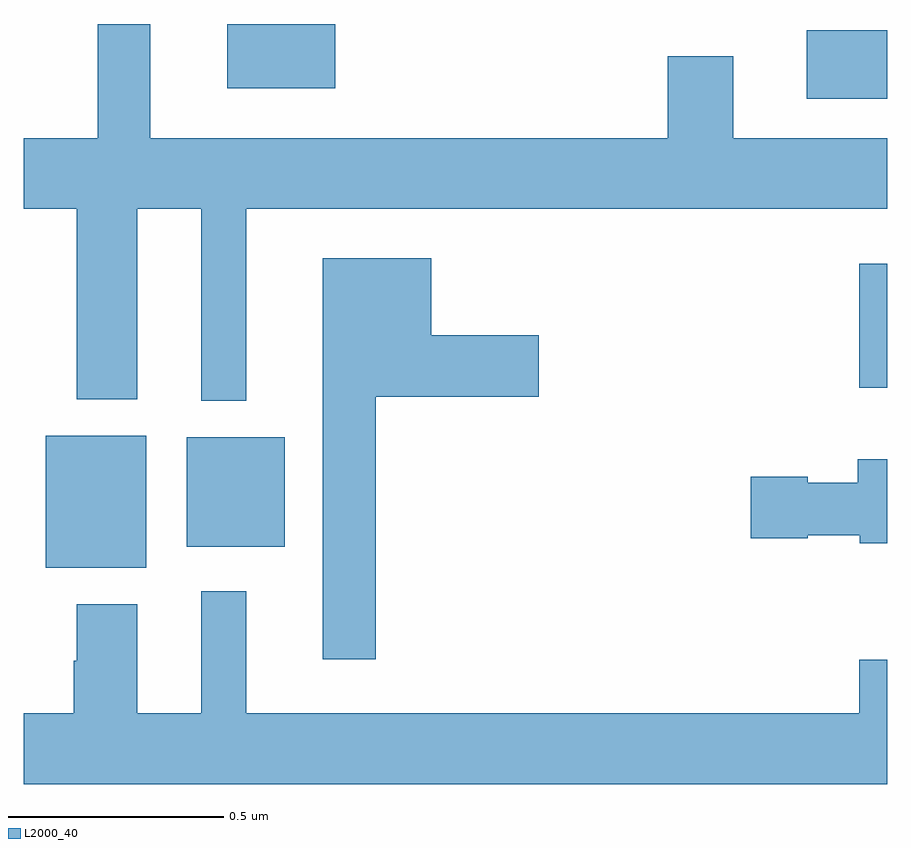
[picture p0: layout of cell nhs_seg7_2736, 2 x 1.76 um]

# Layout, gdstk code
import gdstk
lib = gdstk.Library(unit=1e-6, precision=1e-09)
def R(c, l, rs):  # rectangles x0, y0, x1, y1
    for r in rs: c.add(gdstk.rectangle(r[:2], r[2:], *l))
def P(c, l, *ps):  # polygons
    for p in ps: c.add(gdstk.Polygon(p, *l))
L2000_40 = (2000, 40)

nhs_seg7_2736 = lib.new_cell('nhs_seg7_2736')
R(nhs_seg7_2736, L2000_40, [(149.051,1043.741,149.284,1044.046), (149.378,1043.789,149.605,1044.043), (150.935,1044.158,151,1044.445), (150.813,1044.827,151,1044.985), (149.471,1044.851,149.722,1045)])
P(nhs_seg7_2736, L2000_40, [(149.515,1044.572),(151,1044.572),(151,1044.736),(150.643,1044.736),(150.643,1044.925),(150.491,1044.925),(150.491,1044.736),(149.293,1044.736),(149.293,1045),(149.172,1045),(149.172,1044.736),(149,1044.736),(149,1044.572),(149.123,1044.572),(149.123,1044.131),(149.263,1044.131),(149.263,1044.572),(149.411,1044.572),(149.411,1044.128),(149.515,1044.128)],
  [(149.815,1044.137),(150.193,1044.137),(150.193,1044.279),(149.944,1044.279),(149.944,1044.457),(149.693,1044.457),(149.693,1043.529),(149.815,1043.529)],
  [(151,1043.992),(150.932,1043.992),(150.932,1043.938),(150.816,1043.938),(150.816,1043.951),(150.684,1043.951),(150.684,1043.809),(150.816,1043.809),(150.816,1043.816),(150.936,1043.816),(150.936,1043.798),(151,1043.798)],
  [(151,1043.528),(150.935,1043.528),(150.935,1043.404),(149.515,1043.404),(149.515,1043.686),(149.411,1043.686),(149.411,1043.404),(149.263,1043.404),(149.263,1043.656),(149.123,1043.656),(149.123,1043.525),(149.116,1043.525),(149.116,1043.404),(149,1043.404),(149,1043.24),(151,1043.24)])

lib.write_gds('nhs_seg7_2736.gds')
